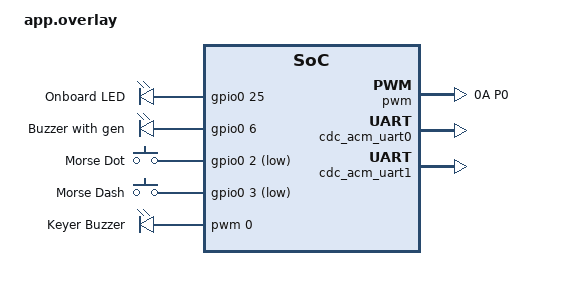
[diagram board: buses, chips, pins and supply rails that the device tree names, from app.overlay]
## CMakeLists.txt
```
cmake_minimum_required(VERSION 4.2.2)

set(BOARD rpi_pico)

find_package(Zephyr)
project(Keyer)

find_program(PICOTOOL_EXE NAMES picotool REQUIRED)

add_custom_target(flash_picotool
        COMMAND ${PICOTOOL_EXE} load -x ${CMAKE_BINARY_DIR}/zephyr/zephyr.uf2
        COMMENT "Wgrywanie oprogramowania na RP2040 przez picotool..."
        DEPENDS zephyr_final
)

add_subdirectory(src)
```

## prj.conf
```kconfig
CONFIG_GPIO=y
CONFIG_PWM=y
CONFIG_SERIAL=y
CONFIG_UART_INTERRUPT_DRIVEN=y
CONFIG_UART_LINE_CTRL=y

CONFIG_USB_DEVICE_STACK=y
CONFIG_USB_CDC_ACM=y
CONFIG_USB_DEVICE_INITIALIZE_AT_BOOT=n

CONFIG_USB_COMPOSITE_DEVICE=y

CONFIG_USB_MAX_NUM_TRANSFERS=16
CONFIG_USB_REQUEST_BUFFER_SIZE=2048

CONFIG_CONSOLE=y
CONFIG_UART_CONSOLE=y

CONFIG_SHELL=y
CONFIG_SHELL_BACKEND_SERIAL=y
CONFIG_SHELL_CMD_BUFF_SIZE=64
```

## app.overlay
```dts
/ {
	chosen {
		zephyr,console = &cdc_acm_uart0;
		zephyr,shell-uart = &cdc_acm_uart0;
	};

	aliases {
		led0 = &board_led;
	};

	leds {
		compatible = "gpio-leds";
		board_led: led_0 {
			gpios = <&gpio0 25 GPIO_ACTIVE_HIGH>;
			label = "Onboard LED";
		};
		buzzer_gen: buzzer_gen {
			gpios = <&gpio0 6 GPIO_ACTIVE_HIGH>;
			label = "Buzzer with gen";
		};
	
	};

	// Klucz iambic (kropka / kreska)
	morse_key {
		compatible = "gpio-keys";
		dot_button: button_0 {
			gpios = <&gpio0 2 (GPIO_PULL_UP | GPIO_ACTIVE_LOW)>;
			label = "Morse Dot";
		};
		dash_button: button_1 {
			gpios = <&gpio0 3 (GPIO_PULL_UP | GPIO_ACTIVE_LOW)>;
			label = "Morse Dash";
		};
	};

	// Wyjście na głośnik (PWM)
	buzzer {
		compatible = "pwm-leds";
		pwm_buzzer: buzzer_pwm {
			pwms = <&pwm 0 PWM_HZ(600) PWM_POLARITY_NORMAL>;
			label = "Keyer Buzzer";
		};
	};


};

&pinctrl {

	pwm_ch0a_default: pwm_ch0a_default {
		group1 {
			pinmux = <PWM_0A_P0>;
		};
	};
};


&pwm {
	status = "okay";
	pinctrl-0 = <&pwm_ch0a_default>;
	pinctrl-names = "default";
};

&uart0 {
	status = "disabled";
};

&zephyr_udc0 {
	cdc_acm_uart0: cdc_acm_uart0 {
		compatible = "zephyr,cdc-acm-uart";
		label = "CDC_ACM_0"; // CLI
	};

	cdc_acm_uart1: cdc_acm_uart1 {
		compatible = "zephyr,cdc-acm-uart";
		label = "CDC_ACM_1"; // Decoder
	};
};
```

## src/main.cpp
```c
#include <cstdlib>
#include <string_view>
#include <zephyr/drivers/gpio.h>
#include <zephyr/drivers/pwm.h>
#include <zephyr/kernel.h>
#include <zephyr/shell/shell.h>
#include <zephyr/usb/usb_device.h>

#include "config.hpp"
#include "decoder.hpp"
#include "keyer.hpp"

static constexpr gpio_dt_spec kLed              = GPIO_DT_SPEC_GET(DT_ALIAS(led0), gpios);
static constexpr gpio_dt_spec kBuzzerGen        = GPIO_DT_SPEC_GET(DT_NODELABEL(buzzer_gen), gpios);
static constexpr gpio_dt_spec kDotPaddleButton  = GPIO_DT_SPEC_GET(DT_NODELABEL(dot_button), gpios);
static constexpr gpio_dt_spec kDashPaddleButton = GPIO_DT_SPEC_GET(DT_NODELABEL(dash_button), gpios);
static constexpr pwm_dt_spec kBuzzer            = PWM_DT_SPEC_GET(DT_NODELABEL(pwm_buzzer));

static morse::Config g_config;

static int CmdSetWpm(const shell* sh, size_t argc, char** argv)
{
    if (argc < 2) {
        shell_error(sh, "Błąd: Podaj wartość WPM (np. morse wpm 25)");
        return -EINVAL;
    }

    uint32_t val = std::strtoul(argv[1], nullptr, 10);
    if (g_config.SetWpm(val)) {
        shell_print(sh, "WPM ustawiono na: %u (Długość kropki: %u ms)", g_config.Wpm(), g_config.DotDurationMs());
        return 0;
    }

    shell_error(sh, "Błąd: WPM poza zakresem (5 - 60)");
    return -ERANGE;
}

static int CmdSetFreq(const shell* sh, size_t argc, char** argv)
{
    if (argc < 2) {
        shell_error(sh, "Błąd: Podaj częstotliwość (np. morse freq 750)");
        return -EINVAL;
    }

    uint32_t val = std::strtoul(argv[1], nullptr, 10);
    if (g_config.SetFrequency(val)) {
        shell_print(sh, "Częstotliwość ustawiona na: %u Hz", g_config.FrequencyHz());
        return 0;
    }

    shell_error(sh, "Błąd: Częstotliwość poza wymaganym zakresem 600 - 800 Hz");
    return -ERANGE;
}

SHELL_STATIC_SUBCMD_SET_CREATE(sub_morse,
                               SHELL_CMD_ARG(wpm, NULL, "Ustaw WPM (5-60)", CmdSetWpm, 2, 0),
                               SHELL_CMD_ARG(freq, NULL, "Ustaw czestotliwosc buzzera (600-800Hz)", CmdSetFreq, 2, 0),
                               SHELL_SUBCMD_SET_END);

SHELL_CMD_REGISTER(morse, &sub_morse, "Konfiguracja generatora kodu Morse'a", NULL);

int main()
{
    if (int ret = usb_enable(nullptr); ret != 0) {
        return ret;
    }

    k_msleep(1000);

    const device* kUsbSerialPortDecoder             = DEVICE_DT_GET(DT_NODELABEL(cdc_acm_uart1));

    if (!pwm_is_ready_dt(&kBuzzer) || !gpio_is_ready_dt(&kDotPaddleButton) || !gpio_is_ready_dt(&kDashPaddleButton) ||
        !gpio_is_ready_dt(&kLed) || !gpio_is_ready_dt(&kBuzzerGen) || !device_is_ready(kUsbSerialPortDecoder)) {
        return -1;
    }

    morse::Decoder decoder;

    morse::Keyer keyer{kBuzzer, kDotPaddleButton, kDashPaddleButton, kLed, kBuzzerGen, kUsbSerialPortDecoder};
    keyer.PollTask(decoder, g_config);

    return 0;
}
```

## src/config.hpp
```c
#pragma once
#include "projectConfig.hpp"
#include <cstdint>

namespace morse
{

    class Config
    {
      public:
        constexpr Config() noexcept = default;

        [[nodiscard]] constexpr uint32_t DotDurationMs() const noexcept
        {
            constexpr auto kParisWordInDits = 50UL;
            constexpr auto kMsInSecond = 1000UL;
            constexpr auto kMsInMinute = kMsInSecond * 60UL;
            return kMsInMinute / (wpm_ * kParisWordInDits);
        }
        [[nodiscard]] constexpr uint32_t FrequencyHz() const noexcept
        {
            return frequencyHz_;
        }
        [[nodiscard]] constexpr uint32_t Wpm() const noexcept
        {
            return wpm_;
        }

        constexpr bool SetWpm(uint32_t value) noexcept
        {
            if (value < project_config::kMinWpm || value > project_config::kMaxWpm) {
                return false;
            }
            wpm_ = value;
            return true;
        }

        constexpr bool SetFrequency(uint32_t value) noexcept
        {
            if (value < project_config::kMinFrequency || value > project_config::kMaxFrequency) {
                return false;
            }
            frequencyHz_ = value;
            return true;
        }

      private:
        uint32_t wpm_{project_config::kDefWpm};
        uint32_t frequencyHz_{project_config::kDefFrequency};
    };

} // namespace morse
```

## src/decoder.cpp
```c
#include "decoder.hpp"
void morse::Decoder::InsertSymbol(bool is_dash) noexcept
{
    if (is_dash) {
        currentIndex_ = (currentIndex_ * 2) + 2;
    }
    else {
        currentIndex_ = (currentIndex_ * 2) + 1;
    }

    if (currentIndex_ >= tree_.size()) {
        Reset();
    }
}
std::optional<char> morse::Decoder::Flush() noexcept
{
    if (currentIndex_ == 0 || currentIndex_ >= tree_.size()) {
        return std::nullopt;
    }
    char decoded = tree_[currentIndex_];
    Reset();
    return decoded != '#' ? std::make_optional(decoded) : std::nullopt;
}
```

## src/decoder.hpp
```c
#pragma once
#include <array>
#include <string_view>
#include <optional>

namespace morse {

class Decoder {
public:
  constexpr Decoder() noexcept = default;

  void InsertSymbol(bool is_dash) noexcept;

  [[nodiscard]] std::optional<char> Flush() noexcept;

  void Reset() noexcept { currentIndex_ = 0; }

private:
  size_t currentIndex_{0};
  // Reprezentacja drzewa binarnego w tablicy (indeksowanie od 0)
  // Lewe dziecko = indeks * 2 + 1 (kropka)
  // Prawe dziecko = indeks * 2 + 2 (kreska)
  // '#' oznacza brak znaku na danej pozycji
  static constexpr std::array<char, 127> tree_{
    '#',                                             // 0: Root (pusty)

    // Poziom 1 (1 symbol)
    'E', 'T',                                        // 1-2

    // Poziom 2 (2 symbole)
    'I', 'A', 'N', 'M',                              // 3-6

    // Poziom 3 (3 symbole)
    'S', 'U', 'R', 'W', 'D', 'K', 'G', 'O',          // 7-14

    // Poziom 4 (4 symbole)
    'H', 'V', 'F', '#', 'L', '#', 'P', 'J',          // 15-22
    'B', 'X', 'C', 'Y', 'Z', 'Q', '#', '#',          // 23-30

    // Poziom 5 (5 symboli - tutaj lądują wszystkie cyfry)
    '5', '4', '#', '3', '#', '#', '#', '2',          // 31-38
    '#', '#', '#', '#', '#', '#', '#', '1',          // 39-46
    '6', '=', '/', '#', '#', '#', '#', '#',          // 47-54
    '7', '#', '#', '#', '8', '#', '9', '0',          // 55-62

    // Poziom 6 (Pominięty/Wypełniony '#' dla zachowania struktury do indeksu 126)
    '#', '#', '#', '#', '#', '#', '#', '#', '#', '#', '#', '#', '#', '#', '#', '#',
    '#', '#', '#', '#', '#', '#', '#', '#', '#', '#', '#', '#', '#', '#', '#', '#',
    '#', '#', '#', '#', '#', '#', '#', '#', '#', '#', '#', '#', '#', '#', '#', '#',
    '#', '#', '#', '#', '#', '#', '#', '#', '#', '#', '#', '#', '#', '#', '#', '#'
};
};

}  // namespace morse
```

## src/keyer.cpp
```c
#include "keyer.hpp"
```

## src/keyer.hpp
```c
#pragma once
#include "config.hpp"
#include "decoder.hpp"
#include <zephyr/drivers/gpio.h>
#include <zephyr/drivers/pwm.h>
#include <zephyr/drivers/uart.h>
#include <zephyr/kernel.h>

namespace morse
{
    class Keyer
    {
      public:
        Keyer(const pwm_dt_spec buzzer,
              const gpio_dt_spec dotPin,
              const gpio_dt_spec dashPin,
              const gpio_dt_spec ledPin,
              const gpio_dt_spec buzzerGenPin,
              const device* outputUart)
            : buzzer_{buzzer}, dotPin_{dotPin}, dashPin_{dashPin}, ledPin_{ledPin}, buzzerGenPin_{buzzerGenPin},
              uart_{outputUart}
        {
            gpio_pin_configure_dt(&dotPin_, GPIO_INPUT);
            gpio_pin_configure_dt(&dashPin_, GPIO_INPUT);
            gpio_pin_configure_dt(&ledPin_, GPIO_OUTPUT_INACTIVE);
            gpio_pin_configure_dt(&buzzerGenPin_, GPIO_OUTPUT_INACTIVE);
        }

        void PollTask(Decoder& decoder, const Config& cfg)
        {
            uint32_t idleTimeMs       = 0;
            uint32_t idleTimeSpaceMs = 0;
            bool insertSpace            = false;
            while (true) {
                const uint32_t ditLen = cfg.DotDurationMs();

                const bool dotPressed  = gpio_pin_get_dt(&dotPin_) > 0;
                const bool dashPressed = gpio_pin_get_dt(&dashPin_) > 0;

                if (dotPressed || dashPressed) {
                    idleTimeMs       = 0;
                    idleTimeSpaceMs = 0;

                    if (dotPressed) {
                        PlayTone(ditLen, cfg.FrequencyHz());
                        decoder.InsertSymbol(false);
                    }
                    else if (dashPressed) {
                        PlayTone(ditLen * project_config::kDashLength, cfg.FrequencyHz());
                        decoder.InsertSymbol(true);
                    }

                    k_msleep(ditLen * project_config::kSymbolToSymbolDistanceLength);
                }
                else {
                    k_msleep(1);
                    idleTimeMs += 1;
                    idleTimeSpaceMs += 1;

                    if (idleTimeMs >= (ditLen * project_config::kLetterToLetterDistanceLength)) {
                        if (const auto character = decoder.Flush(); character.has_value()) {
                            uart_poll_out(uart_, static_cast<char>(*character));
                            insertSpace = true;
                        }
                        idleTimeMs = 0;
                    }

                    if (insertSpace && idleTimeSpaceMs >= (ditLen * project_config::kWordToWordDistanceLength)) {
                        insertSpace = false;
                        uart_poll_out(uart_, ' ');
                    }
                }
            }
        }

      private:
        void PlayTone(uint32_t durationMs, uint32_t freqHz)
        {
            uint32_t period = PWM_HZ(freqHz);

            gpio_pin_set_dt(&ledPin_, 1);
            gpio_pin_set_dt(&buzzerGenPin_, 1);
            pwm_set_dt(&buzzer_, period, period / 2);

            k_msleep(durationMs);

            pwm_set_dt(&buzzer_, period, 0);
            gpio_pin_set_dt(&ledPin_, 0);
            gpio_pin_set_dt(&buzzerGenPin_, 0);
        }

        const pwm_dt_spec buzzer_;
        const gpio_dt_spec dotPin_;
        const gpio_dt_spec dashPin_;
        const gpio_dt_spec ledPin_;
        const gpio_dt_spec buzzerGenPin_;
        const device* uart_;
    };

} // namespace morse
```

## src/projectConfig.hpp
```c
#pragma once

namespace project_config
{
    constexpr auto kMinWpm = 10;
    constexpr auto kMaxWpm = 40;
    constexpr auto kDefWpm = 22;

    constexpr auto kMinFrequency = 500;
    constexpr auto kMaxFrequency = 900;
    constexpr auto kDefFrequency = 700;

    constexpr auto kSymbolToSymbolDistanceLength = 1;
    constexpr auto kDotLength = 1;
    constexpr auto kDashLength = 3;
    constexpr auto kLetterToLetterDistanceLength = 3;
    constexpr auto kWordToWordDistanceLength = 7;
} // namespace project_config
```
